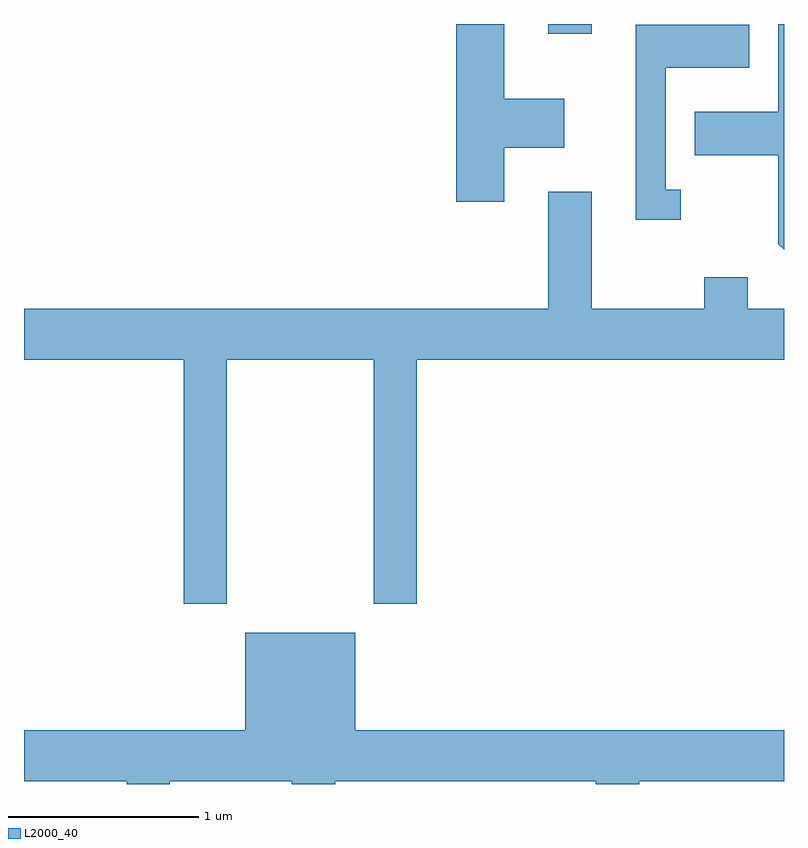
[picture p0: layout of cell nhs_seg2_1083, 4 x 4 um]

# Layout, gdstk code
import gdstk
lib = gdstk.Library(unit=1e-6, precision=1e-09)
def R(c, l, rs):  # rectangles x0, y0, x1, y1
    for r in rs: c.add(gdstk.rectangle(r[:2], r[2:], *l))
def P(c, l, *ps):  # polygons
    for p in ps: c.add(gdstk.Polygon(p, *l))
L2000_40 = (2000, 40)

nhs_seg2_1083 = lib.new_cell('nhs_seg2_1083')
R(nhs_seg2_1083, L2000_40, [(218.371,1107.751,218.599,1107.802)])
P(nhs_seg2_1083, L2000_40, [(219.611,1107.802),(219.581,1107.802),(219.581,1107.339),(219.141,1107.339),(219.141,1107.111),(219.581,1107.111),(219.581,1106.644),(219.611,1106.614)],
  [(218.139,1107.151),(218.454,1107.151),(218.454,1107.409),(218.139,1107.409),(218.139,1107.802),(217.886,1107.802),(217.886,1106.866),(218.139,1106.866)],
  [(219.068,1106.929),(218.989,1106.929),(218.989,1107.571),(219.429,1107.571),(219.429,1107.799),(218.831,1107.799),(218.831,1106.771),(219.068,1106.771)],
  [(216.679,1106.036),(217.451,1106.036),(217.451,1104.751),(217.679,1104.751),(217.679,1106.036),(219.611,1106.036),(219.611,1106.304),(219.419,1106.304),(219.419,1106.469),(219.191,1106.469),(219.191,1106.304),(218.599,1106.304),(218.599,1106.919),(218.371,1106.919),(218.371,1106.304),(215.611,1106.304),(215.611,1106.036),(216.451,1106.036),(216.451,1104.751),(216.679,1104.751)],
  [(216.379,1103.816),(217.021,1103.816),(217.021,1103.802),(217.249,1103.802),(217.249,1103.816),(218.621,1103.816),(218.621,1103.802),(218.849,1103.802),(218.849,1103.816),(219.611,1103.816),(219.611,1104.084),(217.354,1104.084),(217.354,1104.599),(216.776,1104.599),(216.776,1104.084),(215.611,1104.084),(215.611,1103.816),(216.151,1103.816),(216.151,1103.802),(216.379,1103.802)])

lib.write_gds('nhs_seg2_1083.gds')
